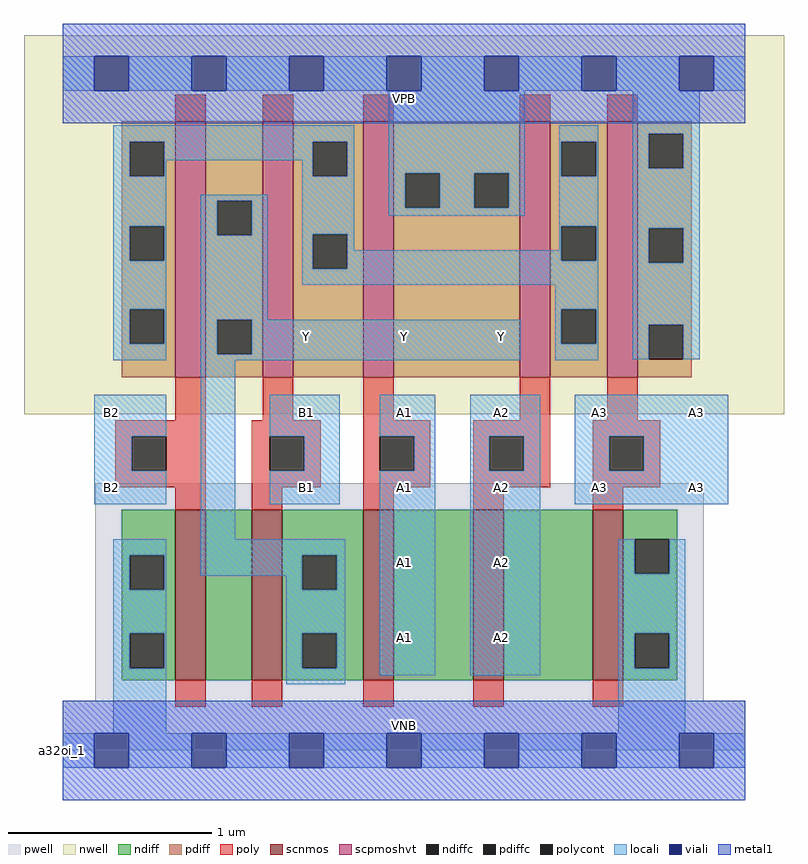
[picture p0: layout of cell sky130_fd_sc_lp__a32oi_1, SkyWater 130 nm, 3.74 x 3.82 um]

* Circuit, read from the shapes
.subckt sky130_fd_sc_lp__a32oi_1 A1 A2 A3 B1 B2 VGND VNB VPB VPWR Y
XM1 n1 B2 VGND VNB sky130_fd_pr__nfet_01v8 w=0.84 l=0.15
XM2 Y B1 n1 VNB sky130_fd_pr__nfet_01v8 w=0.84 l=0.15
XM3 n2 A1 Y VNB sky130_fd_pr__nfet_01v8 w=0.84 l=0.15
XM4 n3 A2 n2 VNB sky130_fd_pr__nfet_01v8 w=0.84 l=0.15
XM5 VGND A3 n3 VNB sky130_fd_pr__nfet_01v8 w=0.84 l=0.15
XM6 Y B2 n4 VPB sky130_fd_pr__pfet_01v8_hvt w=1.26 l=0.15
XM7 n4 B1 Y VPB sky130_fd_pr__pfet_01v8_hvt w=1.26 l=0.15
XM8 VPWR A1 n4 VPB sky130_fd_pr__pfet_01v8_hvt w=1.26 l=0.15
XM9 n4 A2 VPWR VPB sky130_fd_pr__pfet_01v8_hvt w=1.26 l=0.15
XM10 VPWR A3 n4 VPB sky130_fd_pr__pfet_01v8_hvt w=1.26 l=0.15
.ends

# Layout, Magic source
magic
tech sky130A
magscale 1 2
<< nwell >>
rect -38 331 710 704
<< pwell >>
rect 32 49 631 263
rect 0 0 672 49
<< scnmos >>
rect 111 69 141 237
rect 186 69 216 237
rect 296 69 326 237
rect 404 69 434 237
rect 522 69 552 237
<< scpmoshvt >>
rect 111 367 141 619
rect 197 367 227 619
rect 296 367 326 619
rect 450 367 480 619
rect 536 367 566 619
<< ndiff >>
rect 58 192 111 237
rect 58 158 66 192
rect 100 158 111 192
rect 58 115 111 158
rect 58 81 66 115
rect 100 81 111 115
rect 58 69 111 81
rect 141 69 186 237
rect 216 192 296 237
rect 216 158 236 192
rect 270 158 296 192
rect 216 115 296 158
rect 216 81 236 115
rect 270 81 296 115
rect 216 69 296 81
rect 326 69 404 237
rect 434 69 522 237
rect 552 208 605 237
rect 552 174 563 208
rect 597 174 605 208
rect 552 115 605 174
rect 552 81 563 115
rect 597 81 605 115
rect 552 69 605 81
<< pdiff >>
rect 58 599 111 619
rect 58 565 66 599
rect 100 565 111 599
rect 58 516 111 565
rect 58 482 66 516
rect 100 482 111 516
rect 58 434 111 482
rect 58 400 66 434
rect 100 400 111 434
rect 58 367 111 400
rect 141 541 197 619
rect 141 507 152 541
rect 186 507 197 541
rect 141 424 197 507
rect 141 390 152 424
rect 186 390 197 424
rect 141 367 197 390
rect 227 599 296 619
rect 227 565 246 599
rect 280 565 296 599
rect 227 508 296 565
rect 227 474 246 508
rect 280 474 296 508
rect 227 367 296 474
rect 326 568 450 619
rect 326 534 337 568
rect 371 534 405 568
rect 439 534 450 568
rect 326 367 450 534
rect 480 599 536 619
rect 480 565 491 599
rect 525 565 536 599
rect 480 516 536 565
rect 480 482 491 516
rect 525 482 536 516
rect 480 434 536 482
rect 480 400 491 434
rect 525 400 536 434
rect 480 367 536 400
rect 566 607 619 619
rect 566 573 577 607
rect 611 573 619 607
rect 566 514 619 573
rect 566 480 577 514
rect 611 480 619 514
rect 566 419 619 480
rect 566 385 577 419
rect 611 385 619 419
rect 566 367 619 385
<< ndiffc >>
rect 66 158 100 192
rect 66 81 100 115
rect 236 158 270 192
rect 236 81 270 115
rect 563 174 597 208
rect 563 81 597 115
<< pdiffc >>
rect 66 565 100 599
rect 66 482 100 516
rect 66 400 100 434
rect 152 507 186 541
rect 152 390 186 424
rect 246 565 280 599
rect 246 474 280 508
rect 337 534 371 568
rect 405 534 439 568
rect 491 565 525 599
rect 491 482 525 516
rect 491 400 525 434
rect 577 573 611 607
rect 577 480 611 514
rect 577 385 611 419
<< poly >>
rect 111 619 141 645
rect 197 619 227 645
rect 296 619 326 645
rect 450 619 480 645
rect 536 619 566 645
rect 111 325 141 367
rect 197 325 227 367
rect 296 325 326 367
rect 450 325 480 367
rect 536 325 566 367
rect 52 309 141 325
rect 52 275 68 309
rect 102 275 141 309
rect 52 259 141 275
rect 111 237 141 259
rect 186 309 254 325
rect 186 275 204 309
rect 238 275 254 309
rect 186 259 254 275
rect 296 309 362 325
rect 296 275 312 309
rect 346 275 362 309
rect 296 259 362 275
rect 404 309 480 325
rect 404 275 420 309
rect 454 275 480 309
rect 404 259 480 275
rect 522 309 588 325
rect 522 275 538 309
rect 572 275 588 309
rect 522 259 588 275
rect 186 237 216 259
rect 296 237 326 259
rect 404 237 434 259
rect 522 237 552 259
rect 111 43 141 69
rect 186 43 216 69
rect 296 43 326 69
rect 404 43 434 69
rect 522 43 552 69
<< polycont >>
rect 68 275 102 309
rect 204 275 238 309
rect 312 275 346 309
rect 420 275 454 309
rect 538 275 572 309
<< locali >>
rect 0 649 31 683
rect 65 649 127 683
rect 161 649 223 683
rect 257 649 319 683
rect 353 649 415 683
rect 449 649 511 683
rect 545 649 607 683
rect 641 649 672 683
rect 50 599 287 615
rect 50 565 66 599
rect 100 581 246 599
rect 100 565 102 581
rect 50 516 102 565
rect 236 565 246 581
rect 280 565 287 599
rect 50 482 66 516
rect 100 482 102 516
rect 50 434 102 482
rect 50 400 66 434
rect 100 400 102 434
rect 50 384 102 400
rect 136 541 202 547
rect 136 507 152 541
rect 186 507 202 541
rect 136 424 202 507
rect 236 508 287 565
rect 321 568 455 649
rect 321 534 337 568
rect 371 534 405 568
rect 439 534 455 568
rect 321 526 455 534
rect 489 599 527 615
rect 489 565 491 599
rect 525 565 527 599
rect 236 474 246 508
rect 280 492 287 508
rect 489 516 527 565
rect 489 492 491 516
rect 280 482 491 492
rect 525 482 527 516
rect 280 474 527 482
rect 236 458 527 474
rect 485 434 527 458
rect 136 390 152 424
rect 186 390 451 424
rect 136 384 451 390
rect 485 400 491 434
rect 525 400 527 434
rect 485 384 527 400
rect 561 607 627 649
rect 561 573 577 607
rect 611 573 627 607
rect 561 514 627 573
rect 561 480 577 514
rect 611 480 627 514
rect 561 419 627 480
rect 561 385 577 419
rect 611 385 627 419
rect 31 309 102 350
rect 31 275 68 309
rect 31 242 102 275
rect 136 208 170 384
rect 204 309 273 350
rect 238 275 273 309
rect 204 242 273 275
rect 312 309 367 350
rect 346 275 367 309
rect 50 192 102 208
rect 50 158 66 192
rect 100 158 102 192
rect 136 192 278 208
rect 136 172 236 192
rect 50 115 102 158
rect 50 81 66 115
rect 100 81 102 115
rect 50 17 102 81
rect 220 158 236 172
rect 270 158 278 192
rect 220 115 278 158
rect 220 81 236 115
rect 270 81 278 115
rect 220 65 278 81
rect 312 74 367 275
rect 401 309 470 350
rect 401 275 420 309
rect 454 275 470 309
rect 401 74 470 275
rect 504 309 655 350
rect 504 275 538 309
rect 572 275 655 309
rect 504 242 655 275
rect 547 174 563 208
rect 597 174 613 208
rect 547 115 613 174
rect 547 81 563 115
rect 597 81 613 115
rect 547 17 613 81
rect 0 -17 31 17
rect 65 -17 127 17
rect 161 -17 223 17
rect 257 -17 319 17
rect 353 -17 415 17
rect 449 -17 511 17
rect 545 -17 607 17
rect 641 -17 672 17
<< viali >>
rect 31 649 65 683
rect 127 649 161 683
rect 223 649 257 683
rect 319 649 353 683
rect 415 649 449 683
rect 511 649 545 683
rect 607 649 641 683
rect 31 -17 65 17
rect 127 -17 161 17
rect 223 -17 257 17
rect 319 -17 353 17
rect 415 -17 449 17
rect 511 -17 545 17
rect 607 -17 641 17
<< metal1 >>
rect 0 683 672 715
rect 0 649 31 683
rect 65 649 127 683
rect 161 649 223 683
rect 257 649 319 683
rect 353 649 415 683
rect 449 649 511 683
rect 545 649 607 683
rect 641 649 672 683
rect 0 617 672 649
rect 0 17 672 49
rect 0 -17 31 17
rect 65 -17 127 17
rect 161 -17 223 17
rect 257 -17 319 17
rect 353 -17 415 17
rect 449 -17 511 17
rect 545 -17 607 17
rect 641 -17 672 17
rect 0 -49 672 -17
<< labels >>
flabel pwell s 0 0 672 49 0 FreeSans 200 0 0 0 VNB
port 7 nsew ground bidirectional
flabel nwell s 0 617 672 666 0 FreeSans 200 0 0 0 VPB
port 8 nsew power bidirectional
rlabel comment s 0 0 0 0 4 a32oi_1
flabel metal1 s 0 617 672 666 0 FreeSans 340 0 0 0 VPWR
port 9 nsew power bidirectional
flabel metal1 s 0 0 672 49 0 FreeSans 340 0 0 0 VGND
port 6 nsew ground bidirectional
flabel locali s 319 94 353 128 0 FreeSans 340 0 0 0 A1
port 1 nsew signal input
flabel locali s 319 168 353 202 0 FreeSans 340 0 0 0 A1
port 1 nsew signal input
flabel locali s 319 242 353 276 0 FreeSans 340 0 0 0 A1
port 1 nsew signal input
flabel locali s 319 316 353 350 0 FreeSans 340 0 0 0 A1
port 1 nsew signal input
flabel locali s 223 390 257 424 0 FreeSans 340 0 0 0 Y
port 10 nsew signal output
flabel locali s 319 390 353 424 0 FreeSans 340 0 0 0 Y
port 10 nsew signal output
flabel locali s 415 390 449 424 0 FreeSans 340 0 0 0 Y
port 10 nsew signal output
flabel locali s 415 94 449 128 0 FreeSans 340 0 0 0 A2
port 2 nsew signal input
flabel locali s 415 168 449 202 0 FreeSans 340 0 0 0 A2
port 2 nsew signal input
flabel locali s 415 242 449 276 0 FreeSans 340 0 0 0 A2
port 2 nsew signal input
flabel locali s 415 316 449 350 0 FreeSans 340 0 0 0 A2
port 2 nsew signal input
flabel locali s 607 242 641 276 0 FreeSans 340 0 0 0 A3
port 3 nsew signal input
flabel locali s 607 316 641 350 0 FreeSans 340 0 0 0 A3
port 3 nsew signal input
flabel locali s 223 242 257 276 0 FreeSans 340 0 0 0 B1
port 4 nsew signal input
flabel locali s 223 316 257 350 0 FreeSans 340 0 0 0 B1
port 4 nsew signal input
flabel locali s 31 242 65 276 0 FreeSans 340 0 0 0 B2
port 5 nsew signal input
flabel locali s 31 316 65 350 0 FreeSans 340 0 0 0 B2
port 5 nsew signal input
flabel locali s 511 316 545 350 0 FreeSans 340 0 0 0 A3
port 3 nsew signal input
flabel locali s 511 242 545 276 0 FreeSans 340 0 0 0 A3
port 3 nsew signal input
<< properties >>
string LEFsite unit
string LEFclass CORE
string FIXED_BBOX 0 0 672 666
string GDS_FILE $PDKPATH/libs.ref/sky130_fd_sc_lp/gds/sky130_fd_sc_lp.gds
string LEFsymmetry X Y R90
string GDS_END 1046252
string GDS_START 1038644
<< end >>
